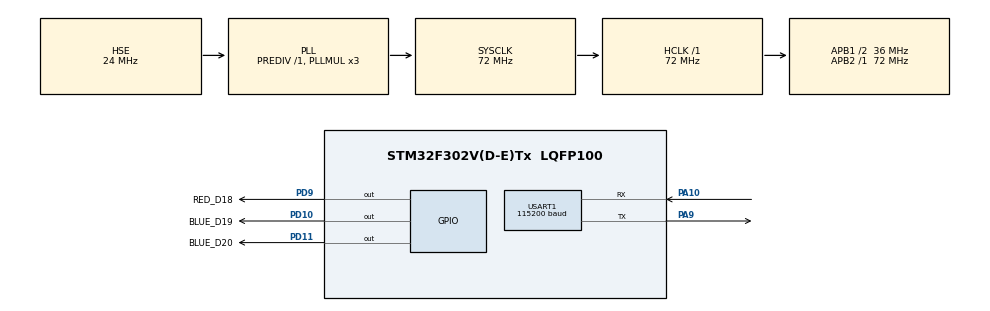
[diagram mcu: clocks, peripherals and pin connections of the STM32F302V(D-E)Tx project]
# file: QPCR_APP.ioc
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Mcu.Family=STM32F3
Mcu.Name=STM32F302V(D-E)Tx
Mcu.Package=LQFP100
NVIC.PriorityGroup=NVIC_PRIORITYGROUP_4
PA10.GPIO_PuPd=GPIO_PULLUP
PA10.Mode=Asynchronous
PA10.Signal=USART1_RX
PA13.Mode=JTAG_5_pins
PA13.Signal=SYS_JTMS-SWDIO
PA14.Mode=JTAG_5_pins
PA14.Signal=SYS_JTCK-SWCLK
PA15.Mode=JTAG_5_pins
PA15.Signal=SYS_JTDI
PA9.GPIO_PuPd=GPIO_PULLUP
PA9.Mode=Asynchronous
PA9.Signal=USART1_TX
PB3.Mode=JTAG_5_pins
PB3.Signal=SYS_JTDO-TRACESWO
PB4.Mode=JTAG_5_pins
PB4.Signal=SYS_NJTRST
PD10.GPIO_Label=BLUE_D19
PD10.GPIO_PuPd=GPIO_PULLUP
PD10.PinState=GPIO_PIN_SET
PD10.Signal=GPIO_Output
PD11.GPIO_Label=BLUE_D20
PD11.GPIO_PuPd=GPIO_PULLUP
PD11.PinState=GPIO_PIN_SET
PD11.Signal=GPIO_Output
PD9.GPIO_Label=RED_D18
PD9.GPIO_PuPd=GPIO_PULLUP
PD9.PinState=GPIO_PIN_SET
PD9.Signal=GPIO_Output
PF0-OSC_IN.Mode=HSE-External-Oscillator
PF0-OSC_IN.Signal=RCC_OSC_IN
PF1-OSC_OUT.Mode=HSE-External-Oscillator
PF1-OSC_OUT.Signal=RCC_OSC_OUT
ProjectManager.HeapSize=0x200
ProjectManager.StackSize=0x400
ProjectManager.TargetToolchain=MDK-ARM V5.32
RCC.AHBFreq_Value=72000000
RCC.APB1CLKDivider=RCC_HCLK_DIV2
RCC.APB1Freq_Value=36000000
RCC.APB1TimFreq_Value=72000000
RCC.APB2Freq_Value=72000000
RCC.APB2TimFreq_Value=72000000
RCC.CortexFreq_Value=72000000
RCC.HCLKFreq_Value=72000000
RCC.HSE_VALUE=24000000
RCC.HSI_VALUE=8000000
RCC.LSE_VALUE=32768
RCC.PLLMUL=RCC_PLL_MUL3
RCC.PLLSourceVirtual=RCC_PLLSOURCE_HSE
RCC.SYSCLKFreq_VALUE=72000000
RCC.SYSCLKSourceVirtual=RCC_SYSCLKSOURCE_PLLCLK
RCC.USBFreq_Value=72000000
USART1.BaudRate=115200
USART1.Parity=PARITY_NONE
USART1.VirtualMode-Asynchronous=VM_ASYNC
board=custom

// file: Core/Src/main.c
/* USER CODE BEGIN Header */
/**
  ******************************************************************************
  * @file           : main.c
  * @brief          : Main program body
  ******************************************************************************
  * @attention
  *
  * Copyright (c) 2022 STMicroelectronics.
  * All rights reserved.
  *
  * This software is licensed under terms that can be found in the LICENSE file
  * in the root directory of this software component.
  * If no LICENSE file comes with this software, it is provided AS-IS.
  *
  ******************************************************************************
  */
/* USER CODE END Header */
#include "main.h"
#include "usart.h"
#include "gpio.h"

/* USER CODE BEGIN Includes */
#include "flash_if.h"
/* USER CODE END Includes */

/* USER CODE BEGIN PD */
#define COM_READ_LEN (32)

#define LOG_ENABLE  1
#if LOG_ENABLE
#include "SEGGER_RTT.h"
#define LOG_INIT()      SEGGER_RTT_Init()
#define LOG(fmt, ...)   SEGGER_RTT_printf(0, fmt, ##__VA_ARGS__);
#else
#define LOG_INIT()
#define LOG(fmt, ...)
#endif
/* USER CODE END PD */

void SystemClock_Config(void);
/* USER CODE BEGIN PFP */
extern uint32_t JumpToIap(UpgradeDef *UpgradeInfo);
/* USER CODE END PFP */

int main(void)
{
  /* USER CODE BEGIN 1 */
  uint8_t uartRecv[COM_READ_LEN] = {0};
  /* USER CODE END 1 */

  /* MCU Configuration--------------------------------------------------------*/

  /* Reset of all peripherals, Initializes the Flash interface and the Systick. */
  HAL_Init();

  /* USER CODE BEGIN Init */
  SCB->VTOR = APPLICATION_ADDRESS & (uint32_t)0x1FFFFF80;
  /* USER CODE END Init */

  /* Configure the system clock */
  SystemClock_Config();

  /* USER CODE BEGIN SysInit */
  LOG_INIT();
  LOG("QPCR STM32F302VET6 Application start...\r\n");
  /* USER CODE END SysInit */

  /* Initialize all configured peripherals */
  MX_GPIO_Init();
  MX_USART1_UART_Init();

  /* Infinite loop */
  /* USER CODE BEGIN WHILE */
  while (1)
  {
    //HAL_Delay(500);
    HAL_GPIO_TogglePin(BLUE_D19_GPIO_Port, BLUE_D19_Pin);
    LOG("LED toggle...\r\n");

    if(HAL_OK == HAL_UART_Receive(&huart1, uartRecv, 12, 1000))     // waiting the update command
    {
        LOG("RecvData:\r\n");
        for(int i = 0; i < 12; i++) {
            LOG("D[%02d]=[0x%02x] ", i, uartRecv[i]);       // should be:D[00]=[0x55] D[01]=[0xAA] D[02]=[0x06] D[03]=[0x00] D[04]=[0x01] D[05]=[0x05] D[06]=[0x00] D[07]=[0x0B] D[08]=[0xE1] D[09]=[0x01] D[10]=[0x35] D[11]=[0x83]
        }
        LOG("\r\n");

        UpgradeDef stUpgradeInfo;
        stUpgradeInfo.UpdateType = uartRecv[9];     // UART_AUTO_UPGRADE
        JumpToIap(&stUpgradeInfo);
    }
    /* USER CODE END WHILE */

  }
}

void SystemClock_Config(void)
{
  RCC_OscInitTypeDef RCC_OscInitStruct = {0};
  RCC_ClkInitTypeDef RCC_ClkInitStruct = {0};
  RCC_PeriphCLKInitTypeDef PeriphClkInit = {0};

  /** Initializes the RCC Oscillators according to the specified parameters
  * in the RCC_OscInitTypeDef structure.
  */
  RCC_OscInitStruct.OscillatorType = RCC_OSCILLATORTYPE_HSE;
  RCC_OscInitStruct.HSEState = RCC_HSE_ON;
  RCC_OscInitStruct.HSIState = RCC_HSI_ON;
  RCC_OscInitStruct.PLL.PLLState = RCC_PLL_ON;
  RCC_OscInitStruct.PLL.PLLSource = RCC_PLLSOURCE_HSE;
  RCC_OscInitStruct.PLL.PLLMUL = RCC_PLL_MUL3;
  RCC_OscInitStruct.PLL.PREDIV = RCC_PREDIV_DIV1;
  if (HAL_RCC_OscConfig(&RCC_OscInitStruct) != HAL_OK)
  {
    Error_Handler();
  }

  /** Initializes the CPU, AHB and APB buses clocks
  */
  RCC_ClkInitStruct.ClockType = RCC_CLOCKTYPE_HCLK|RCC_CLOCKTYPE_SYSCLK
                              |RCC_CLOCKTYPE_PCLK1|RCC_CLOCKTYPE_PCLK2;
  RCC_ClkInitStruct.SYSCLKSource = RCC_SYSCLKSOURCE_PLLCLK;
  RCC_ClkInitStruct.AHBCLKDivider = RCC_SYSCLK_DIV1;
  RCC_ClkInitStruct.APB1CLKDivider = RCC_HCLK_DIV2;
  RCC_ClkInitStruct.APB2CLKDivider = RCC_HCLK_DIV1;

  if (HAL_RCC_ClockConfig(&RCC_ClkInitStruct, FLASH_LATENCY_2) != HAL_OK)
  {
    Error_Handler();
  }
  PeriphClkInit.PeriphClockSelection = RCC_PERIPHCLK_USART1;
  PeriphClkInit.Usart1ClockSelection = RCC_USART1CLKSOURCE_PCLK2;
  if (HAL_RCCEx_PeriphCLKConfig(&PeriphClkInit) != HAL_OK)
  {
    Error_Handler();
  }
}

void Error_Handler(void)
{
  __disable_irq();
  while (1)
  {
  }
}
